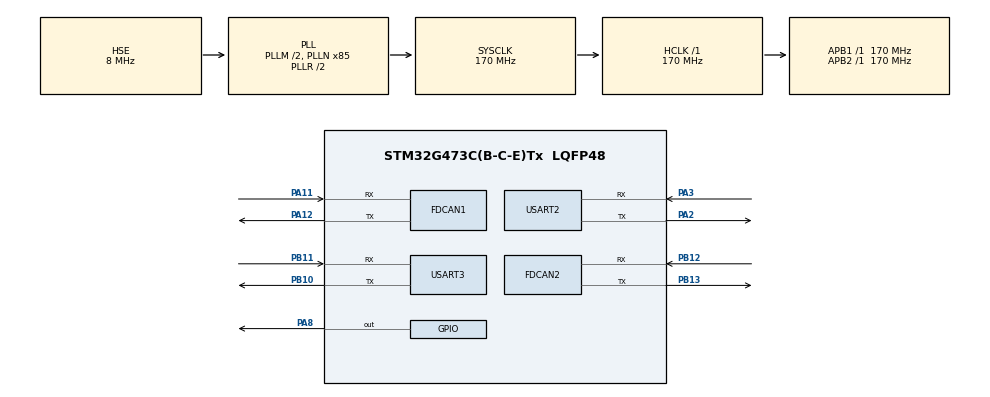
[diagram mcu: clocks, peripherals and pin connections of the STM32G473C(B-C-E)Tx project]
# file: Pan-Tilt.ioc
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Dma.Request0=USART2_RX
Dma.Request1=USART3_RX
Dma.USART2_RX.0.Direction=DMA_PERIPH_TO_MEMORY
Dma.USART2_RX.0.EventEnable=DISABLE
Dma.USART2_RX.0.Instance=DMA1_Channel1
Dma.USART2_RX.0.MemDataAlignment=DMA_MDATAALIGN_BYTE
Dma.USART2_RX.0.MemInc=DMA_MINC_ENABLE
Dma.USART2_RX.0.Mode=DMA_NORMAL
Dma.USART2_RX.0.PeriphDataAlignment=DMA_PDATAALIGN_BYTE
Dma.USART2_RX.0.PeriphInc=DMA_PINC_DISABLE
Dma.USART2_RX.0.Polarity=HAL_DMAMUX_REQ_GEN_RISING
Dma.USART2_RX.0.Priority=DMA_PRIORITY_LOW
Dma.USART2_RX.0.RequestNumber=1
Dma.USART2_RX.0.SignalID=NONE
Dma.USART2_RX.0.SyncEnable=DISABLE
Dma.USART2_RX.0.SyncPolarity=HAL_DMAMUX_SYNC_NO_EVENT
Dma.USART2_RX.0.SyncRequestNumber=1
Dma.USART2_RX.0.SyncSignalID=NONE
Dma.USART3_RX.1.Direction=DMA_PERIPH_TO_MEMORY
Dma.USART3_RX.1.EventEnable=DISABLE
Dma.USART3_RX.1.Instance=DMA1_Channel2
Dma.USART3_RX.1.MemDataAlignment=DMA_MDATAALIGN_BYTE
Dma.USART3_RX.1.MemInc=DMA_MINC_ENABLE
Dma.USART3_RX.1.Mode=DMA_NORMAL
Dma.USART3_RX.1.PeriphDataAlignment=DMA_PDATAALIGN_BYTE
Dma.USART3_RX.1.PeriphInc=DMA_PINC_DISABLE
Dma.USART3_RX.1.Polarity=HAL_DMAMUX_REQ_GEN_RISING
Dma.USART3_RX.1.Priority=DMA_PRIORITY_LOW
Dma.USART3_RX.1.RequestNumber=1
Dma.USART3_RX.1.SignalID=NONE
Dma.USART3_RX.1.SyncEnable=DISABLE
Dma.USART3_RX.1.SyncPolarity=HAL_DMAMUX_SYNC_NO_EVENT
Dma.USART3_RX.1.SyncRequestNumber=1
Dma.USART3_RX.1.SyncSignalID=NONE
FDCAN1.CalculateBaudRateNominal=1000000
FDCAN1.CalculateTimeBitNominal=1000
FDCAN1.CalculateTimeQuantumNominal=100.0
FDCAN1.DataPrescaler=8
FDCAN1.DataTimeSeg1=10
FDCAN1.DataTimeSeg2=5
FDCAN1.NominalPrescaler=17
FDCAN1.NominalTimeSeg1=6
FDCAN1.NominalTimeSeg2=3
FDCAN2.CalculateBaudRateNominal=1000000
FDCAN2.CalculateTimeBitNominal=1000
FDCAN2.CalculateTimeQuantumNominal=100.0
FDCAN2.DataPrescaler=8
FDCAN2.DataTimeSeg1=10
FDCAN2.DataTimeSeg2=5
FDCAN2.FrameFormat=FDCAN_FRAME_FD_BRS
FDCAN2.NominalPrescaler=17
FDCAN2.NominalSyncJumpWidth=1
FDCAN2.NominalTimeSeg1=6
FDCAN2.NominalTimeSeg2=3
Mcu.Family=STM32G4
Mcu.Name=STM32G473C(B-C-E)Tx
Mcu.Package=LQFP48
NVIC.DMA1_Channel1_IRQn=true\:0\:0\:false\:false\:true\:false\:true\:true
NVIC.DMA1_Channel2_IRQn=true\:0\:0\:false\:false\:true\:false\:true\:true
NVIC.FDCAN1_IT0_IRQn=true\:0\:0\:false\:false\:true\:true\:true\:true
NVIC.FDCAN1_IT1_IRQn=true\:0\:0\:false\:false\:true\:true\:true\:true
NVIC.FDCAN2_IT0_IRQn=true\:0\:0\:false\:false\:true\:true\:true\:true
NVIC.FDCAN2_IT1_IRQn=true\:0\:0\:false\:false\:true\:true\:true\:true
NVIC.PriorityGroup=NVIC_PRIORITYGROUP_4
NVIC.USART2_IRQn=true\:0\:0\:false\:false\:true\:true\:true\:true
NVIC.USART3_IRQn=true\:0\:0\:false\:false\:true\:true\:true\:true
PA11.Mode=FDCAN_Activate
PA11.Signal=FDCAN1_RX
PA12.Mode=FDCAN_Activate
PA12.Signal=FDCAN1_TX
PA13.Mode=Serial_Wire
PA13.Signal=SYS_JTMS-SWDIO
PA14.Mode=Serial_Wire
PA14.Signal=SYS_JTCK-SWCLK
PA2.Mode=Asynchronous
PA2.Signal=USART2_TX
PA3.Mode=Asynchronous
PA3.Signal=USART2_RX
PA8.Signal=GPIO_Output
PB10.Mode=Asynchronous
PB10.Signal=USART3_TX
PB11.Mode=Asynchronous
PB11.Signal=USART3_RX
PB12.Mode=FDCAN_Activate
PB12.Signal=FDCAN2_RX
PB13.Mode=FDCAN_Activate
PB13.Signal=FDCAN2_TX
PF0-OSC_IN.Mode=HSE-External-Oscillator
PF0-OSC_IN.Signal=RCC_OSC_IN
PF1-OSC_OUT.Mode=HSE-External-Oscillator
PF1-OSC_OUT.Signal=RCC_OSC_OUT
ProjectManager.HeapSize=0x200
ProjectManager.StackSize=0x400
ProjectManager.TargetToolchain=MDK-ARM V5.32
RCC.ADC12Freq_Value=170000000
RCC.ADC345Freq_Value=170000000
RCC.AHBFreq_Value=170000000
RCC.APB1Freq_Value=170000000
RCC.APB1TimFreq_Value=170000000
RCC.APB2Freq_Value=170000000
RCC.APB2TimFreq_Value=170000000
RCC.CortexFreq_Value=170000000
RCC.EXTERNAL_CLOCK_VALUE=12288000
RCC.HCLKFreq_Value=170000000
RCC.HSE_VALUE=8000000
RCC.HSI48_VALUE=48000000
RCC.HSI_VALUE=16000000
RCC.LSE_VALUE=32768
RCC.PLLM=RCC_PLLM_DIV2
RCC.PLLN=85
RCC.PLLSourceVirtual=RCC_PLLSOURCE_HSE
RCC.SYSCLKFreq_VALUE=170000000
RCC.SYSCLKSource=RCC_SYSCLKSOURCE_PLLCLK
RCC.USBFreq_Value=170000000
RCC.VCOOutputFreq_Value=340000000
USART2.VirtualMode-Asynchronous=VM_ASYNC
USART3.VirtualMode-Asynchronous=VM_ASYNC
VP_SYS_VS_DBSignals.Mode=DisableDeadBatterySignals
board=custom

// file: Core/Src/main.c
/* USER CODE BEGIN Header */
/**
  ******************************************************************************
  * @file           : main.c
  * @brief          : Main program body
  ******************************************************************************
  * @attention
  *
  * Copyright (c) 2026 STMicroelectronics.
  * All rights reserved.
  *
  * This software is licensed under terms that can be found in the LICENSE file
  * in the root directory of this software component.
  * If no LICENSE file comes with this software, it is provided AS-IS.
  *
  ******************************************************************************
  */
/* USER CODE END Header */
#include "main.h"
#include "dma.h"
#include "fdcan.h"
#include "usart.h"
#include "gpio.h"

/* USER CODE BEGIN Includes */
#include "fdcan_bsp.h"
#include "dji_motor.h"
#include "Pan_Tilt_control.h"

/* USER CODE END Includes */

void SystemClock_Config(void);

int main(void)
{

  /* MCU Configuration--------------------------------------------------------*/

  /* Reset of all peripherals, Initializes the Flash interface and the Systick. */
  HAL_Init();

  /* Configure the system clock */
  SystemClock_Config();

  /* Initialize all configured peripherals */
  MX_GPIO_Init();
  MX_DMA_Init();
  MX_FDCAN1_Init();
  MX_FDCAN2_Init();
  MX_USART2_UART_Init();
  MX_USART3_UART_Init();
  /* USER CODE BEGIN 2 */
	fdcan_bsp_init();

	fdcan_bsp_start(&hfdcan1);
	fdcan_bsp_start(&hfdcan2);
//	fdcan_bsp_start(&hfdcan3);

	dji_motors_init();
	gimbal_control_init();

	// 3. 可以在这里设置一个初始位置，防止上电乱跑
	HAL_Delay(500); // 等待电机回传数据建立初始坐标
	gimbal_set_angle(0.0f, 0.0f);
	uint32_t time[4];
	time[0] = HAL_GetTick();
	time [1] =time[2]  = time [3] = 0;
	/* USER CODE END 2 */

  /* Infinite loop */
  while (1)
  {

    /* USER CODE BEGIN 3 */
		time[0] = HAL_GetTick(); // 必须添加这行
		if(time[0]-time[1]>1)
		{
			gimbal_control_loop();
			time [1] = time[0];
		}
		if (time[0]-time[2]>2000 )
		{
			static int toggle = 0;
          toggle = !toggle;
			 if(toggle) gimbal_set_angle(30.0f, 30.0f);
			else gimbal_set_angle(-30.0f, -30.0f);
			time[2] = time[0];
		}
  }
  /* USER CODE END 3 */
}

void SystemClock_Config(void)
{
  RCC_OscInitTypeDef RCC_OscInitStruct = {0};
  RCC_ClkInitTypeDef RCC_ClkInitStruct = {0};

  /** Configure the main internal regulator output voltage
  */
  HAL_PWREx_ControlVoltageScaling(PWR_REGULATOR_VOLTAGE_SCALE1_BOOST);

  /** Initializes the RCC Oscillators according to the specified parameters
  * in the RCC_OscInitTypeDef structure.
  */
  RCC_OscInitStruct.OscillatorType = RCC_OSCILLATORTYPE_HSE;
  RCC_OscInitStruct.HSEState = RCC_HSE_ON;
  RCC_OscInitStruct.PLL.PLLState = RCC_PLL_ON;
  RCC_OscInitStruct.PLL.PLLSource = RCC_PLLSOURCE_HSE;
  RCC_OscInitStruct.PLL.PLLM = RCC_PLLM_DIV2;
  RCC_OscInitStruct.PLL.PLLN = 85;
  RCC_OscInitStruct.PLL.PLLP = RCC_PLLP_DIV2;
  RCC_OscInitStruct.PLL.PLLQ = RCC_PLLQ_DIV2;
  RCC_OscInitStruct.PLL.PLLR = RCC_PLLR_DIV2;
  if (HAL_RCC_OscConfig(&RCC_OscInitStruct) != HAL_OK)
  {
    Error_Handler();
  }

  /** Initializes the CPU, AHB and APB buses clocks
  */
  RCC_ClkInitStruct.ClockType = RCC_CLOCKTYPE_HCLK|RCC_CLOCKTYPE_SYSCLK
                              |RCC_CLOCKTYPE_PCLK1|RCC_CLOCKTYPE_PCLK2;
  RCC_ClkInitStruct.SYSCLKSource = RCC_SYSCLKSOURCE_PLLCLK;
  RCC_ClkInitStruct.AHBCLKDivider = RCC_SYSCLK_DIV1;
  RCC_ClkInitStruct.APB1CLKDivider = RCC_HCLK_DIV1;
  RCC_ClkInitStruct.APB2CLKDivider = RCC_HCLK_DIV1;

  if (HAL_RCC_ClockConfig(&RCC_ClkInitStruct, FLASH_LATENCY_4) != HAL_OK)
  {
    Error_Handler();
  }
}

void Error_Handler(void)
{
  __disable_irq();
  while (1)
  {
  }
}
